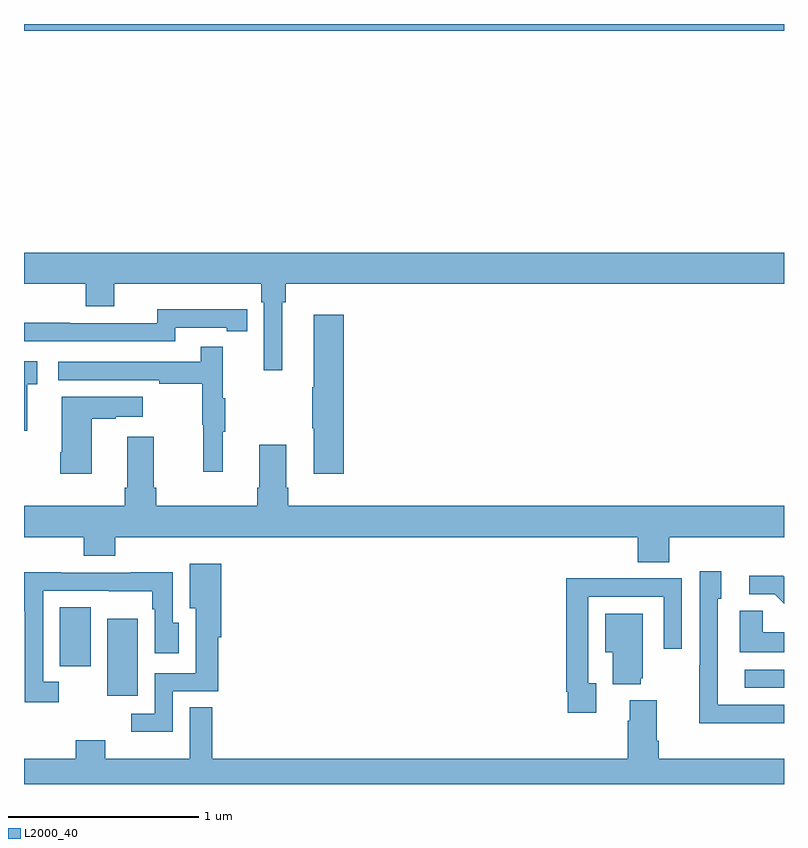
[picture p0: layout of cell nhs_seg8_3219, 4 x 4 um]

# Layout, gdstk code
import gdstk
lib = gdstk.Library(unit=1e-6, precision=1e-09)
def R(c, l, rs):  # rectangles x0, y0, x1, y1
    for r in rs: c.add(gdstk.rectangle(r[:2], r[2:], *l))
def P(c, l, *ps):  # polygons
    for p in ps: c.add(gdstk.Polygon(p, *l))
L2000_40 = (2000, 40)

nhs_seg8_3219 = lib.new_cell('nhs_seg8_3219')
R(nhs_seg8_3219, L2000_40, [(311.438,1082.364,311.599,1082.77), (314.793,1082.406,315,1082.502), (311.189,1082.52,311.35,1082.831), (311,1085.864,315,1085.9)])
P(nhs_seg8_3219, L2000_40, [(312.358,1084.436),(312.377,1084.436),(312.377,1084.532),(315,1084.532),(315,1084.696),(311,1084.696),(311,1084.532),(311.324,1084.532),(311.324,1084.415),(311.476,1084.415),(311.476,1084.532),(312.248,1084.532),(312.248,1084.436),(312.261,1084.436),(312.261,1084.077),(312.358,1084.077)],
  [(311.796,1084.302),(312.068,1084.302),(312.068,1084.282),(312.176,1084.282),(312.176,1084.398),(312.068,1084.398),(312.068,1084.399),(311.7,1084.399),(311.7,1084.326),(311.24,1084.326),(311.24,1084.328),(311,1084.328),(311,1084.23),(311.796,1084.23)],
  [(312.683,1084.369),(312.524,1084.369),(312.524,1083.989),(312.517,1083.989),(312.517,1083.772),(312.524,1083.772),(312.524,1083.534),(312.683,1083.534)],
  [(312.047,1083.755),(312.058,1083.755),(312.058,1083.929),(312.047,1083.929),(312.047,1084.201),(311.929,1084.201),(311.929,1084.122),(311.181,1084.122),(311.181,1084.026),(311.713,1084.026),(311.713,1084.006),(311.937,1084.006),(311.937,1083.792),(311.944,1083.792),(311.944,1083.543),(312.047,1083.543)],
  [(311.018,1084.005),(311.071,1084.005),(311.071,1084.126),(311,1084.126),(311,1083.759),(311.018,1083.759)],
  [(311.356,1083.823),(311.483,1083.823),(311.483,1083.833),(311.626,1083.833),(311.626,1083.937),(311.198,1083.937),(311.198,1083.646),(311.191,1083.646),(311.191,1083.534),(311.356,1083.534)],
  [(314.396,1083.2),(315,1083.2),(315,1083.364),(312.392,1083.364),(312.392,1083.46),(312.379,1083.46),(312.379,1083.685),(312.239,1083.685),(312.239,1083.46),(312.227,1083.46),(312.227,1083.364),(311.696,1083.364),(311.696,1083.46),(311.683,1083.46),(311.683,1083.727),(311.543,1083.727),(311.543,1083.46),(311.531,1083.46),(311.531,1083.364),(311,1083.364),(311,1083.2),(311.315,1083.2),(311.315,1083.101),(311.48,1083.101),(311.48,1083.2),(314.231,1083.2),(314.231,1083.067),(314.396,1083.067)],
  [(311.784,1082.388),(312.022,1082.388),(312.022,1082.673),(312.038,1082.673),(312.038,1083.058),(311.873,1083.058),(311.873,1082.825),(311.903,1082.825),(311.903,1082.484),(311.688,1082.484),(311.688,1082.271),(311.565,1082.271),(311.565,1082.174),(311.784,1082.174)],
  [(315,1082.316),(314.652,1082.316),(314.652,1082.874),(314.671,1082.874),(314.671,1083.019),(314.556,1083.019),(314.556,1082.525),(314.554,1082.525),(314.554,1082.219),(315,1082.219)],
  [(311.182,1082.439),(311.1,1082.439),(311.1,1082.916),(311.446,1082.916),(311.446,1082.915),(311.676,1082.915),(311.676,1082.819),(311.688,1082.819),(311.688,1082.589),(311.815,1082.589),(311.815,1082.748),(311.784,1082.748),(311.784,1083.014),(311.563,1083.014),(311.563,1083.012),(311.197,1083.012),(311.197,1083.014),(311,1083.014),(311,1082.81),(311.004,1082.81),(311.004,1082.331),(311.182,1082.331)],
  [(315,1082.991),(314.995,1082.996),(314.817,1082.996),(314.817,1082.898),(314.951,1082.898),(315,1082.849)],
  [(314.011,1082.43),(313.971,1082.43),(313.971,1082.886),(314.367,1082.886),(314.367,1082.613),(314.463,1082.613),(314.463,1082.982),(314.147,1082.982),(314.147,1082.984),(313.855,1082.984),(313.855,1082.386),(313.863,1082.386),(313.863,1082.274),(314.011,1082.274)],
  [(315,1082.698),(314.889,1082.698),(314.889,1082.813),(314.768,1082.813),(314.768,1082.594),(315,1082.594)],
  [(314.246,1082.457),(314.257,1082.457),(314.257,1082.797),(314.06,1082.797),(314.06,1082.594),(314.099,1082.594),(314.099,1082.426),(314.246,1082.426)],
  [(311.992,1082.303),(311.873,1082.303),(311.873,1082.032),(311.427,1082.032),(311.427,1082.131),(311.272,1082.131),(311.272,1082.032),(311,1082.032),(311,1081.9),(315,1081.9),(315,1082.032),(314.342,1082.032),(314.342,1082.128),(314.329,1082.128),(314.329,1082.341),(314.189,1082.341),(314.189,1082.234),(314.177,1082.234),(314.177,1082.032),(311.992,1082.032)])

lib.write_gds('nhs_seg8_3219.gds')
